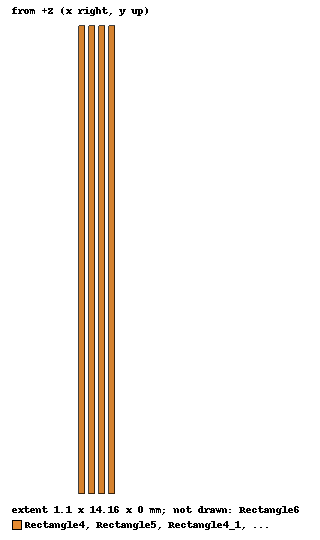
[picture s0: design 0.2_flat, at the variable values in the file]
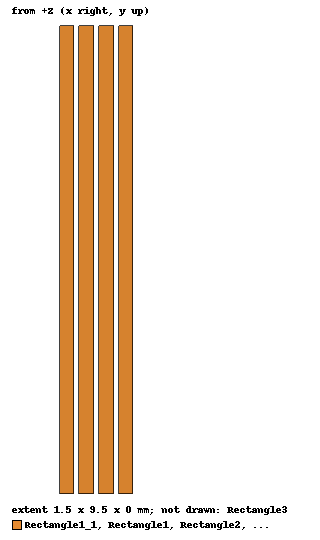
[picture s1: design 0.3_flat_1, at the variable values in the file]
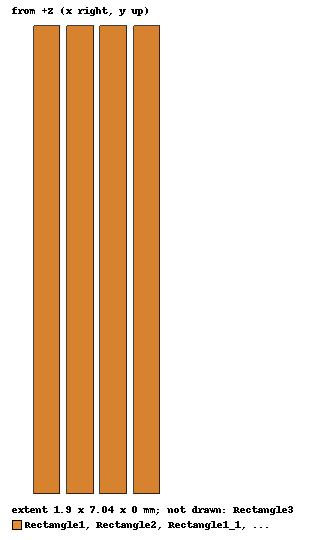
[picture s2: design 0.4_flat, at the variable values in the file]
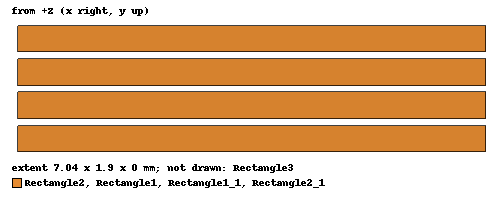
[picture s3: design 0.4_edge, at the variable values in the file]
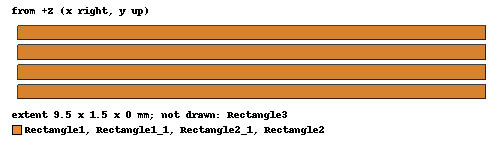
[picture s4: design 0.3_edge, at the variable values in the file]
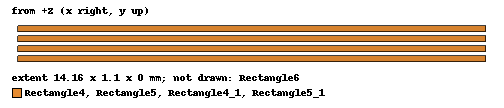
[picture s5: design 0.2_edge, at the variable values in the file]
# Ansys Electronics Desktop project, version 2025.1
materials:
  copper: permeability=0.999991 conductivity=58000000
  vacuum: permittivity=1

design 0.2_flat (Maxwell 2D, EddyCurrent, XY geometry, model units mm)
options: ModelDepth=14.19mm
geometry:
  Rectangle4 [copper] = rectangle(corner=(8mm, 0mm, 0mm), x_size=0.2mm, y_size=14.16mm)
  Rectangle5 [copper] = rectangle(corner=(8mm, 0mm, 0mm), x_size=0.2mm, y_size=14.16mm)
  Rectangle5.move(0.1mm, 0mm, 0mm)
  Rectangle5.move(0.2mm, 0mm, 0mm)
  Rectangle4_1 [copper] = Rectangle4.duplicate_along_line(step=(0.6mm, 0mm, 0mm), total=2)
  Rectangle5_1 [copper] = Rectangle5.duplicate_along_line(step=(0.6mm, 0mm, 0mm), total=2)
  Rectangle6 [vacuum] = rectangle(corner=(8mm, 14.16mm, 0mm), x_size=1.1mm, y_size=-14.16mm)
  [Rectangle4, Rectangle5, Rectangle4_1, Rectangle5_1, Rectangle6].move(-8mm, 0mm, 0mm)
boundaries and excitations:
  Balloon2: Balloon Edges=Rectangle6.edge(all 4)
  Current5: Current Objects=Rectangle4 Phase=0deg Current=14.142A IsSolid=true IsPositive=true
  Current6: Current Objects=Rectangle5 Phase=0deg Current=14.142A IsSolid=true IsPositive=false
  Current7: Current Objects=Rectangle4_1 Phase=0deg Current=14.142A IsSolid=true IsPositive=true
  Current8: Current Objects=Rectangle5_1 Phase=0deg Current=14.142A IsSolid=true IsPositive=false
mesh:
  Length3: LengthBased RefineInside Objects=[Rectangle4, Rectangle5, Rectangle4_1, Rectangle5_1] MaxLength=0.1mm
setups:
  Setup1: EddyCurrent MaximumPasses=10 MinimumPasses=2 MinimumConvergedPasses=1 PercentRefinement=30 PercentError=1 NonLinearResidual=0.0001 Frequency=1MHz
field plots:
  JAtPhase1: J over Rectangle4, Rectangle4_1, Rectangle5, Rectangle5_1 on Setup1 : LastAdaptive at Freq=1MHz Phase=0deg

design 0.3_flat_1 (Maxwell 2D, EddyCurrent, XY geometry, model units mm)
options: ModelDepth=14.19mm
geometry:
  Rectangle1 [copper] = rectangle(corner=(0.05mm, 0.05mm, 0mm), x_size=0.3mm, y_size=9.5mm)
  Rectangle2 [copper] = rectangle(corner=(0.05mm, 0.05mm, 0mm), x_size=0.3mm, y_size=9.5mm)
  Rectangle2.move(0.3mm, 0mm, 0mm)
  Rectangle2.move(0.1mm, 0mm, 0mm)
  Rectangle1_1 [copper] = Rectangle1.duplicate_along_line(step=(0.8mm, 0mm, 0mm), total=2)
  Rectangle2_1 [copper] = Rectangle2.duplicate_along_line(step=(0.8mm, 0mm, 0mm), total=2)
  Rectangle3 [vacuum] = rectangle(corner=(1.55mm, 0.05mm, 0mm), x_size=-1.5mm, y_size=9.5mm)
  [Rectangle1, Rectangle2, Rectangle1_1, Rectangle2_1, Rectangle3].move(-0.05mm, -0.05mm, 0mm)
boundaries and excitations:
  Balloon1: Balloon Edges=Rectangle3.edge(all 4)
  Current1: Current Objects=Rectangle2 Phase=0deg Current=14.142A IsSolid=true IsPositive=false
  Current2: Current Objects=Rectangle1 Phase=0deg Current=14.142A IsSolid=true IsPositive=true
  Current3: Current Objects=Rectangle2_1 Phase=0deg Current=14.142A IsSolid=true IsPositive=false
  Current4: Current Objects=Rectangle1_1 Phase=0deg Current=14.142A IsSolid=true IsPositive=true
  eddy effects on: Rectangle1, Rectangle2
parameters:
  Matrix1: Matrix Current1, Current2:
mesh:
  Length1: LengthBased RefineInside Objects=[Rectangle1, Rectangle2] MaxLength=0.1mm
  Length2: LengthBased RefineInside Objects=[Rectangle1_1, Rectangle2_1] MaxLength=0.1mm
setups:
  Setup1: EddyCurrent MaximumPasses=10 MinimumPasses=2 MinimumConvergedPasses=1 PercentRefinement=30 PercentError=1 NonLinearResidual=0.0001 Frequency=1MHz
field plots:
  JAtPhase1: J over Rectangle1, Rectangle2 on Setup1 : LastAdaptive at Freq=1MHz Phase=0deg
  JAtPhase2: J over Rectangle1_1, Rectangle2_1 on Setup1 : LastAdaptive at Freq=1MHz Phase=0deg

design 0.4_flat (Maxwell 2D, EddyCurrent, XY geometry, model units mm)
options: ModelDepth=14.19mm
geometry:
  Rectangle1 [copper] = rectangle(corner=(0.04mm, 0mm, 0mm), x_size=0.4mm, y_size=7.04mm)
  Rectangle2 [copper] = rectangle(corner=(0.04mm, 0mm, 0mm), x_size=0.4mm, y_size=7.04mm)
  Rectangle2.move(0.5mm, 0mm, 0mm)
  Rectangle1_1 [copper] = Rectangle1.duplicate_along_line(step=(1mm, 0mm, 0mm), total=2)
  Rectangle2_1 [copper] = Rectangle2.duplicate_along_line(step=(1mm, 0mm, 0mm), total=2)
  Rectangle3 [vacuum] = rectangle(corner=(0.04mm, 7.04mm, 0mm), x_size=1.9mm, y_size=-7.04mm)
  [Rectangle1, Rectangle2, Rectangle1_1, Rectangle2_1, Rectangle3].move(-0.04mm, 0mm, 0mm)
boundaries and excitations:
  Balloon1: Balloon Edges=Rectangle3.edge(all 4)
  Current1: Current Objects=Rectangle1 Phase=0deg Current=14.142A IsSolid=true IsPositive=true
  Current2: Current Objects=Rectangle2 Phase=0deg Current=14.142A IsSolid=true IsPositive=false
  Current3: Current Objects=Rectangle1_1 Phase=0deg Current=14.142A IsSolid=true IsPositive=true
  Current4: Current Objects=Rectangle2_1 Phase=0deg Current=14.142A IsSolid=true IsPositive=false
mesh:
  Length1: LengthBased RefineInside Objects=[Rectangle1, Rectangle2, Rectangle1_1, Rectangle2_1] MaxLength=0.1mm
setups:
  Setup1: EddyCurrent MaximumPasses=10 MinimumPasses=2 MinimumConvergedPasses=1 PercentRefinement=30 PercentError=1 NonLinearResidual=0.0001 Frequency=1MHz
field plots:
  JAtPhase1: J over Rectangle1, Rectangle1_1, Rectangle2, Rectangle2_1 on Setup1 : LastAdaptive at Freq=1MHz Phase=0deg

design 0.4_edge (Maxwell 2D, EddyCurrent, XY geometry, model units mm)
options: ModelDepth=14.19mm
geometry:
  Rectangle1 [copper] = rectangle(corner=(0.04mm, 0mm, 0mm), x_size=0.4mm, y_size=7.04mm)
  Rectangle2 [copper] = rectangle(corner=(0.04mm, 0mm, 0mm), x_size=0.4mm, y_size=7.04mm)
  Rectangle2.move(0.5mm, 0mm, 0mm)
  Rectangle1_1 [copper] = Rectangle1.duplicate_along_line(step=(1mm, 0mm, 0mm), total=2)
  Rectangle2_1 [copper] = Rectangle2.duplicate_along_line(step=(1mm, 0mm, 0mm), total=2)
  Rectangle3 [vacuum] = rectangle(corner=(0.04mm, 7.04mm, 0mm), x_size=1.9mm, y_size=-7.04mm)
  [Rectangle1, Rectangle2, Rectangle1_1, Rectangle2_1, Rectangle3].rotate(axis=Z, angle=-90deg)
  [Rectangle1, Rectangle2, Rectangle1_1, Rectangle2_1, Rectangle3].mirror(point=(0mm, 0mm, 0mm), normal=(0mm, 1mm, 0mm))
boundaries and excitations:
  Balloon1: Balloon Edges=Rectangle3.edge(all 4)
  Current1: Current Objects=Rectangle1 Phase=0deg Current=14.142A IsSolid=true IsPositive=true
  Current2: Current Objects=Rectangle2 Phase=0deg Current=14.142A IsSolid=true IsPositive=false
  Current3: Current Objects=Rectangle1_1 Phase=0deg Current=14.142A IsSolid=true IsPositive=true
  Current4: Current Objects=Rectangle2_1 Phase=0deg Current=14.142A IsSolid=true IsPositive=false
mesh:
  Length1: LengthBased RefineInside Objects=[Rectangle1, Rectangle2, Rectangle1_1, Rectangle2_1] MaxLength=0.1mm
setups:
  Setup1: EddyCurrent MaximumPasses=10 MinimumPasses=2 MinimumConvergedPasses=1 PercentRefinement=30 PercentError=1 NonLinearResidual=0.0001 Frequency=1MHz
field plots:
  JAtPhase1: J over Rectangle1, Rectangle1_1, Rectangle2, Rectangle2_1 on Setup1 : LastAdaptive at Freq=1MHz Phase=0deg

design 0.3_edge (Maxwell 2D, EddyCurrent, XY geometry, model units mm)
options: ModelDepth=14.19mm
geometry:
  Rectangle1 [copper] = rectangle(corner=(0.05mm, 0.05mm, 0mm), x_size=0.3mm, y_size=9.5mm)
  Rectangle2 [copper] = rectangle(corner=(0.05mm, 0.05mm, 0mm), x_size=0.3mm, y_size=9.5mm)
  Rectangle2.move(0.3mm, 0mm, 0mm)
  Rectangle2.move(0.1mm, 0mm, 0mm)
  Rectangle1_1 [copper] = Rectangle1.duplicate_along_line(step=(0.8mm, 0mm, 0mm), total=2)
  Rectangle2_1 [copper] = Rectangle2.duplicate_along_line(step=(0.8mm, 0mm, 0mm), total=2)
  Rectangle3 [vacuum] = rectangle(corner=(1.55mm, 0.05mm, 0mm), x_size=-1.5mm, y_size=9.5mm)
  [Rectangle1, Rectangle2, Rectangle1_1, Rectangle2_1, Rectangle3].rotate(axis=Z, angle=-90deg)
  [Rectangle1, Rectangle2, Rectangle1_1, Rectangle2_1, Rectangle3].mirror(point=(0mm, 0mm, 0mm), normal=(0mm, 1mm, 0mm))
  [Rectangle1, Rectangle2, Rectangle1_1, Rectangle2_1, Rectangle3].move(-0.05mm, -0.05mm, 0mm)
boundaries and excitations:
  Balloon1: Balloon Edges=Rectangle3.edge(all 4)
  Current1: Current Objects=Rectangle2 Phase=0deg Current=14.142A IsSolid=true IsPositive=false
  Current2: Current Objects=Rectangle1 Phase=0deg Current=14.142A IsSolid=true IsPositive=true
  Current3: Current Objects=Rectangle2_1 Phase=0deg Current=14.142A IsSolid=true IsPositive=false
  Current4: Current Objects=Rectangle1_1 Phase=0deg Current=14.142A IsSolid=true IsPositive=true
  eddy effects on: Rectangle1, Rectangle2
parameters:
  Matrix1: Matrix Current1, Current2:
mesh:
  Length1: LengthBased RefineInside Objects=[Rectangle1, Rectangle2] MaxLength=0.1mm
  Length2: LengthBased RefineInside Objects=[Rectangle1_1, Rectangle2_1] MaxLength=0.1mm
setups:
  Setup1: EddyCurrent MaximumPasses=10 MinimumPasses=2 MinimumConvergedPasses=1 PercentRefinement=30 PercentError=1 NonLinearResidual=0.0001 Frequency=1MHz
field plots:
  JAtPhase1: J over Rectangle1, Rectangle2 on Setup1 : LastAdaptive at Freq=1MHz Phase=0deg
  JAtPhase2: J over Rectangle1_1, Rectangle2_1 on Setup1 : LastAdaptive at Freq=1MHz Phase=0deg

design 0.2_edge (Maxwell 2D, EddyCurrent, XY geometry, model units mm)
options: ModelDepth=14.19mm
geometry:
  Rectangle4 [copper] = rectangle(corner=(8mm, 0mm, 0mm), x_size=0.2mm, y_size=14.16mm)
  Rectangle5 [copper] = rectangle(corner=(8mm, 0mm, 0mm), x_size=0.2mm, y_size=14.16mm)
  Rectangle5.move(0.1mm, 0mm, 0mm)
  Rectangle5.move(0.2mm, 0mm, 0mm)
  Rectangle4_1 [copper] = Rectangle4.duplicate_along_line(step=(0.6mm, 0mm, 0mm), total=2)
  Rectangle5_1 [copper] = Rectangle5.duplicate_along_line(step=(0.6mm, 0mm, 0mm), total=2)
  Rectangle6 [vacuum] = rectangle(corner=(8mm, 14.16mm, 0mm), x_size=1.1mm, y_size=-14.16mm)
  [Rectangle4, Rectangle5, Rectangle4_1, Rectangle5_1, Rectangle6].rotate(axis=Z, angle=-90deg)
  [Rectangle4, Rectangle5, Rectangle4_1, Rectangle5_1, Rectangle6].move(0mm, 8mm, 0mm)
  [Rectangle4, Rectangle5, Rectangle4_1, Rectangle5_1, Rectangle6].mirror(point=(0mm, 0mm, 0mm), normal=(0mm, 1mm, 0mm))
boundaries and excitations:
  Balloon2: Balloon Edges=Rectangle6.edge(all 4)
  Current5: Current Objects=Rectangle4 Phase=0deg Current=14.142A IsSolid=true IsPositive=true
  Current6: Current Objects=Rectangle5 Phase=0deg Current=14.142A IsSolid=true IsPositive=false
  Current7: Current Objects=Rectangle4_1 Phase=0deg Current=14.142A IsSolid=true IsPositive=true
  Current8: Current Objects=Rectangle5_1 Phase=0deg Current=14.142A IsSolid=true IsPositive=false
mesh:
  Length3: LengthBased RefineInside Objects=[Rectangle4, Rectangle5, Rectangle4_1, Rectangle5_1] MaxLength=0.1mm
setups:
  Setup1: EddyCurrent MaximumPasses=10 MinimumPasses=2 MinimumConvergedPasses=1 PercentRefinement=30 PercentError=1 NonLinearResidual=0.0001 Frequency=1MHz
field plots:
  JAtPhase1: J over Rectangle4, Rectangle4_1, Rectangle5, Rectangle5_1 on Setup1 : LastAdaptive at Freq=1MHz Phase=0deg
